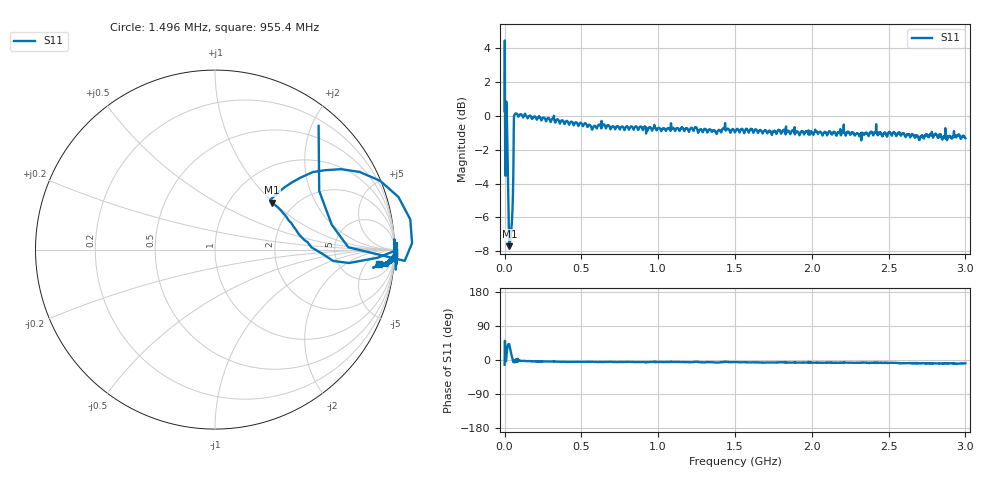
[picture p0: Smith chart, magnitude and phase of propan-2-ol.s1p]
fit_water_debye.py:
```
"""
Calibrate S11->Permittivity using NPL Isopropanol data, then apply to Water.

Method:
1. Load NPL isopropanol reference (epsilon', epsilon'' at each frequency)
2. Load your isopropanol S1P measurement
3. Create calibration mapping: epsilon = Y_measured * CalibrationFactor
   where Y_measured = (1-S11)/(1+S11) (Admittance)
4. Load your water S1P measurement
5. Apply the same mapping to get water's epsilon', epsilon''
6. Fit Debye model to water's extracted permittivity
"""

import numpy as np
import matplotlib.pyplot as plt
from pathlib import Path
import sys
from scipy.optimize import minimize, curve_fit
from scipy.interpolate import interp1d
from scipy.stats import linregress

# Add parent directory to path for imports
sys.path.insert(0, str(Path(__file__).parent))
from ml_classifier.data_loader import parse_s1p_file

# =============================================================================
# MODELS
# =============================================================================

def debye_model(f, eps_s, eps_inf, tau):
    """Single Debye relaxation - returns complex permittivity"""
    omega = 2 * np.pi * f
    denom = 1 + (omega * tau)**2
    eps_prime = eps_inf + (eps_s - eps_inf) / denom
    eps_double_prime = (eps_s - eps_inf) * omega * tau / denom
    return eps_prime, eps_double_prime

def single_debye(f, eps_s, eps_inf, tau):
    """Wrapper for curve_fit"""
    return debye_model(f, eps_s, eps_inf, tau)

def s11_to_admittance(s11_mag, phase_rad):
    """Convert S11 (polar) to Admittance Y = (1-Gamma)/(1+Gamma)"""
    gamma = s11_mag * np.exp(1j * phase_rad)
    # Avoid division by zero if gamma is exactly -1
    gamma = np.where(gamma == -1, -0.999999, gamma)
    y = (1 - gamma) / (1 + gamma)
    return y

# =============================================================================
# DATA LOADING
# =============================================================================

def load_npl_isopropanol():
    """Load NPL reference data for isopropanol at 15C"""
    csv_path = Path("isopropanol_permittivity_15C_NPL.csv")
    if not csv_path.exists():
        raise FileNotFoundError(f"Could not find {csv_path}")
        
    data = np.genfromtxt(csv_path, delimiter=',', skip_header=1)
    
    freq_ghz = data[:, 0]
    eps_prime = data[:, 1]
    eps_double_prime = data[:, 3]
    
    return {
        'freq_hz': freq_ghz * 1e9,
        'freq_ghz': freq_ghz,
        'eps_prime': eps_prime,
        'eps_double_prime': eps_double_prime
    }

def load_literature_water():
    """Load literature water permittivity data"""
    csv_path = Path("water_permittivity_literature.csv")
    if not csv_path.exists():
        print(f"Warning: Could not find {csv_path}")
        return None
        
    data = np.genfromtxt(csv_path, delimiter=',', skip_header=1)
    
    # Columns: Freq_GHz, eps_prime_25C, eps_double_prime_25C, eps_prime_20C, eps_double_prime_20C
    freq_ghz = data[:, 0]
    eps_prime_25C = data[:, 1]
    eps_double_prime_25C = data[:, 2]
    eps_prime_20C = data[:, 3]
    eps_double_prime_20C = data[:, 4]
    
    return {
        'freq_ghz': freq_ghz,
        'eps_prime_25C': eps_prime_25C,
        'eps_double_prime_25C': eps_double_prime_25C,
        'eps_prime_20C': eps_prime_20C,
        'eps_double_prime_20C': eps_double_prime_20C
    }

def load_s1p_file(filepath):
    """Load S1P file and return frequency, magnitude (linear), phase (rad)"""
    freq_hz, s11_db, phase_deg = parse_s1p_file(filepath)
    
    # Convert to linear magnitude and radians
    s11_mag = 10 ** (s11_db / 20)
    phase_rad = np.deg2rad(phase_deg)
    
    return {
        'freq_hz': freq_hz,
        'freq_ghz': freq_hz / 1e9,
        's11_mag': s11_mag,
        'phase_rad': phase_rad,
        's11_db': s11_db,
        'phase_deg': phase_deg
    }

# =============================================================================
# CALIBRATION & FITTING
# =============================================================================

def create_calibration_from_isopropanol(npl_data, s1p_iso, freq_range=(0.1e9, 3e9)):
    """
    Create a calibration factor using Isopropanol as a standard.
    Assumption: epsilon_complex = Y_measured * CalibrationFactor
    CalibrationFactor = epsilon_ref / Y_measured_iso
    """
    # Filter NPL data to range
    mask_npl = (npl_data['freq_hz'] >= freq_range[0]) & (npl_data['freq_hz'] <= freq_range[1])
    freqs = npl_data['freq_hz'][mask_npl]
    eps_ref_complex = npl_data['eps_prime'][mask_npl] - 1j * npl_data['eps_double_prime'][mask_npl]
    
    # Interpolate S1P data to NPL frequencies
    s11_mag_interp = np.interp(freqs, s1p_iso['freq_hz'], s1p_iso['s11_mag'])
    phase_rad_interp = np.interp(freqs, s1p_iso['freq_hz'], s1p_iso['phase_rad'])
    
    # Calculate Admittance Y for Isopropanol
    y_iso = s11_to_admittance(s11_mag_interp, phase_rad_interp)
    
    # Calculate Calibration Factor (Complex)
    # C_factor = epsilon / Y
    cal_factor = eps_ref_complex / y_iso
    
    return {
        'freq_hz': freqs,
        'cal_factor': cal_factor,
        'y_iso': y_iso,
        'eps_ref': eps_ref_complex
    }

def apply_calibration(calibration, s1p_target):
    """Apply calibration to target S1P data"""
    cal_freqs = calibration['freq_hz']
    cal_factor = calibration['cal_factor']
    
    # Interpolate target S1P to calibration frequencies
    s11_mag_interp = np.interp(cal_freqs, s1p_target['freq_hz'], s1p_target['s11_mag'])
    phase_rad_interp = np.interp(cal_freqs, s1p_target['freq_hz'], s1p_target['phase_rad'])
    
    # Calculate Admittance Y for Target
    y_target = s11_to_admittance(s11_mag_interp, phase_rad_interp)
    
    # Apply Calibration: epsilon = Y * C_factor
    eps_complex = y_target * cal_factor
    
    return {
        'freq_hz': cal_freqs,
        'freq_ghz': cal_freqs / 1e9,
        'eps_prime': np.real(eps_complex),
        'eps_double_prime': -np.imag(eps_complex), # Convention: eps'' is positive loss
        'y_target': y_target
    }

def fit_debye_parameters(freq_hz, eps_prime, eps_double_prime):
    """Fit Debye model to extracted permittivity"""
    
    def residual(params):
        eps_s, eps_inf, tau = params
        ep, edp = debye_model(freq_hz, eps_s, eps_inf, tau)
        
        # Weighted residual (normalize by magnitude)
        res_p = np.sum(((eps_prime - ep) / np.mean(eps_prime))**2)
        res_dp = np.sum(((eps_double_prime - edp) / (np.mean(eps_double_prime)+0.1))**2)
        return res_p + res_dp

    # Initial guesses for Water
    x0 = [78.0, 5.0, 8e-12] # eps_s, eps_inf, tau
    bounds = [(10, 100), (1, 20), (1e-13, 1e-10)]
    
    result = minimize(residual, x0, bounds=bounds, method='L-BFGS-B')
    
    eps_s, eps_inf, tau = result.x
    
    # Calculate R2
    ep_fit, edp_fit = debye_model(freq_hz, eps_s, eps_inf, tau)
    ss_res = np.sum((eps_prime - ep_fit)**2) + np.sum((eps_double_prime - edp_fit)**2)
    ss_tot = np.sum((eps_prime - np.mean(eps_prime))**2) + np.sum((eps_double_prime - np.mean(eps_double_prime))**2)
    r2 = 1 - (ss_res / ss_tot)
    
    return {
        'eps_s': eps_s,
        'eps_inf': eps_inf,
        'tau': tau,
        'f_relax': 1/(2*np.pi*tau),
        'r2': r2
    }

# =============================================================================
# PLOTTING
# =============================================================================

def plot_results(npl_iso, calibration, water_result, water_fit, lit_water, output_path):
    """Plot the results"""
    fig, axes = plt.subplots(3, 2, figsize=(14, 15))
    
    # 1. Reference Data (Isopropanol)
    ax = axes[0, 0]
    ax.plot(npl_iso['freq_ghz'], npl_iso['eps_prime'], 'b-', label="Iso ε' (Ref)")
    ax.plot(npl_iso['freq_ghz'], npl_iso['eps_double_prime'], 'r-', label="Iso ε'' (Ref)")
    ax.set_title("Reference: Isopropanol (NPL)")
    ax.set_xlabel("Frequency (GHz)")
    ax.set_ylabel("Permittivity")
    ax.legend()
    ax.grid(True, alpha=0.3)

    # 2. Calibration Factor (Mapping)
    ax = axes[0, 1]
    cal_mag = np.abs(calibration['cal_factor'])
    cal_phase = np.angle(calibration['cal_factor'], deg=True)
    
    ax2 = ax.twinx()
    l1 = ax.plot(calibration['freq_hz']/1e9, cal_mag, 'g-', label="|Cal Factor|")
    l2 = ax2.plot(calibration['freq_hz']/1e9, cal_phase, 'm--', label="∠Cal Factor")
    
    ax.set_title("Calibration Mapping (Factor = ε_ref / Y_iso)")
    ax.set_xlabel("Frequency (GHz)")
    ax.set_ylabel("Magnitude")
    ax2.set_ylabel("Phase (deg)")
    
    lns = l1 + l2
    labs = [l.get_label() for l in lns]
    ax.legend(lns, labs, loc='best')
    ax.grid(True, alpha=0.3)
    
    # 3. Extracted Water Permittivity
    ax = axes[1, 0]
    ax.plot(water_result['freq_ghz'], water_result['eps_prime'], 'b-', label="Water ε' (Extracted)")
    ax.plot(water_result['freq_ghz'], water_result['eps_double_prime'], 'r-', label="Water ε'' (Extracted)")
    
    # Plot Literature Data if available
    if lit_water:
        ax.plot(lit_water['freq_ghz'], lit_water['eps_prime_20C'], 'c--', alpha=0.7, label="Lit 20°C ε'")
        ax.plot(lit_water['freq_ghz'], lit_water['eps_double_prime_20C'], 'm--', alpha=0.7, label="Lit 20°C ε''")
        
    ax.set_title("Extracted: Water Permittivity vs Literature")
    ax.set_xlabel("Frequency (GHz)")
    ax.set_ylabel("Permittivity")
    ax.legend()
    ax.grid(True, alpha=0.3)

    # 4. Empty or Admittance Comparison
    ax = axes[1, 1]
    ax.plot(calibration['freq_hz']/1e9, np.abs(calibration['y_iso']), 'k-', label="|Y_iso|")
    ax.plot(water_result['freq_ghz'], np.abs(water_result['y_target']), 'b--', label="|Y_water|")
    ax.set_title("Admittance Comparison (|Y|)")
    ax.set_xlabel("Frequency (GHz)")
    ax.set_ylabel("Admittance Magnitude")
    ax.legend()
    ax.grid(True, alpha=0.3)
    
    # 5. Debye Fit (Real Part)
    ax = axes[2, 0]
    freq_smooth = np.linspace(water_result['freq_hz'].min(), water_result['freq_hz'].max(), 100)
    ep_fit, edp_fit = debye_model(freq_smooth, water_fit['eps_s'], water_fit['eps_inf'], water_fit['tau'])
    
    ax.plot(water_result['freq_ghz'], water_result['eps_prime'], 'bo', alpha=0.5, label="Data")
    ax.plot(freq_smooth/1e9, ep_fit, 'k--', linewidth=2, label="Debye Fit")
    
    if lit_water:
        ax.plot(lit_water['freq_ghz'], lit_water['eps_prime_20C'], 'c--', alpha=0.5, label="Lit 20°C")
        
    ax.set_title(f"Water ε' Fit (εs={water_fit['eps_s']:.1f})")
    ax.set_xlabel("Frequency (GHz)")
    ax.set_ylabel("Real Permittivity")
    ax.legend()
    ax.grid(True, alpha=0.3)
    
    # 6. Debye Fit (Imaginary Part)
    ax = axes[2, 1]
    ax.plot(water_result['freq_ghz'], water_result['eps_double_prime'], 'ro', alpha=0.5, label="Data")
    ax.plot(freq_smooth/1e9, edp_fit, 'k--', linewidth=2, label="Debye Fit")
    
    if lit_water:
        ax.plot(lit_water['freq_ghz'], lit_water['eps_double_prime_20C'], 'm--', alpha=0.5, label="Lit 20°C")
        
    ax.set_title(f"Water ε'' Fit (τ={water_fit['tau']*1e12:.1f}ps)")
    ax.set_xlabel("Frequency (GHz)")
    ax.set_ylabel("Imaginary Permittivity")
    ax.legend()
    ax.grid(True, alpha=0.3)
    
    plt.suptitle(f"Water Debye Analysis via Isopropanol Calibration\nR²={water_fit['r2']:.4f}", fontsize=14)
    plt.tight_layout(rect=[0, 0.03, 1, 0.97])
    plt.savefig(output_path, dpi=300)
    print(f"Saved plot to {output_path}")

# =============================================================================
# MAIN
# =============================================================================

def main():
    print("="*80)
    print("WATER DEBYE ANALYSIS (Isopropanol Calibration)")
    print("="*80)
    
    # 1. Load Reference
    print("Loading NPL Isopropanol Reference...")
    try:
        npl_iso = load_npl_isopropanol()
    except Exception as e:
        print(f"Error: {e}")
        return

    # 2. Load Isopropanol S1P
    print("Loading Isopropanol S1P...")
    iso_path = Path("Database/Isopropanol/propan-2-ol.s1p")
    if not iso_path.exists():
        iso_path = Path("compounds/propan-2-ol.s1p")
    
    if not iso_path.exists():
        print("Error: Could not find isopropanol S1P file")
        return
    s1p_iso = load_s1p_file(iso_path)
    
    # 3. Create Calibration
    print("Creating Calibration Mapping...")
    cal = create_calibration_from_isopropanol(npl_iso, s1p_iso)
    
    # 4. Load Water S1P
    print("Loading Water S1P...")
    water_path = Path("Database/Water/DI-water.s1p")
    if not water_path.exists():
        water_path = Path("compounds/DI-water.s1p")
        
    if not water_path.exists():
        print("Error: Could not find water S1P file")
        return
    s1p_water = load_s1p_file(water_path)
    
    # 5. Apply Calibration
    print("Applying Calibration to Water...")
    water_result = apply_calibration(cal, s1p_water)
    
    # 6. Fit Debye
    print("Fitting Debye Model...")
    fit = fit_debye_parameters(water_result['freq_hz'], 
                               water_result['eps_prime'], 
                               water_result['eps_double_prime'])
    
    print("\nRESULTS:")
    print(f"Static Permittivity (εs): {fit['eps_s']:.2f} (Expected ~78-80)")
    print(f"High-Freq Permittivity (ε∞): {fit['eps_inf']:.2f} (Expected ~4-6)")
    print(f"Relaxation Time (τ): {fit['tau']*1e12:.2f} ps (Expected ~8-9 ps)")
    print(f"Relaxation Freq: {fit['f_relax']/1e9:.2f} GHz")
    print(f"Fit Quality (R²): {fit['r2']:.4f}")
    
    # 7. Load Literature Data
    print("Loading Literature Water Data...")
    lit_water = load_literature_water()

    # 8. Plot
    output_dir = Path("demo_results")
    output_dir.mkdir(exist_ok=True)
    plot_results(npl_iso, cal, water_result, fit, lit_water, output_dir / "water_debye_calibrated.png")

if __name__ == "__main__":
    main()
```
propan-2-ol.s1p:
# HZ S RI R 50
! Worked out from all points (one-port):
!   2020 points, 10 kHz to 3 GHz, reference 50 ohm
!   lowest |S11| = -7.7 dB at 31.21 MHz (marker M1), VSWR 2.40, Z = 77.9 + j49.1 ohm
!   |S11| at or under -10 dB: nowhere
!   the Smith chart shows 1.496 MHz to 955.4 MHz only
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10000  1.007 -0.2228
5953516  0.6506 0.1382
1.635467e7  0.806 0.4327
1.932643e7  0.6108 0.4421
2.378406e7  0.4275 0.3737
3.121346e7  0.3186 0.2618
3.715698e7  0.3822 0.2005
4.310049e7  0.4379 0.1281
6.39028e7  1.004 -0.0257
7.578983e7  1.013 0.0365
3.68508e8  0.9625 -0.0802
1.000007e9  0.9154 -0.0896
2.000003e9  0.8885 -0.1093
3e9  0.849 -0.1281
